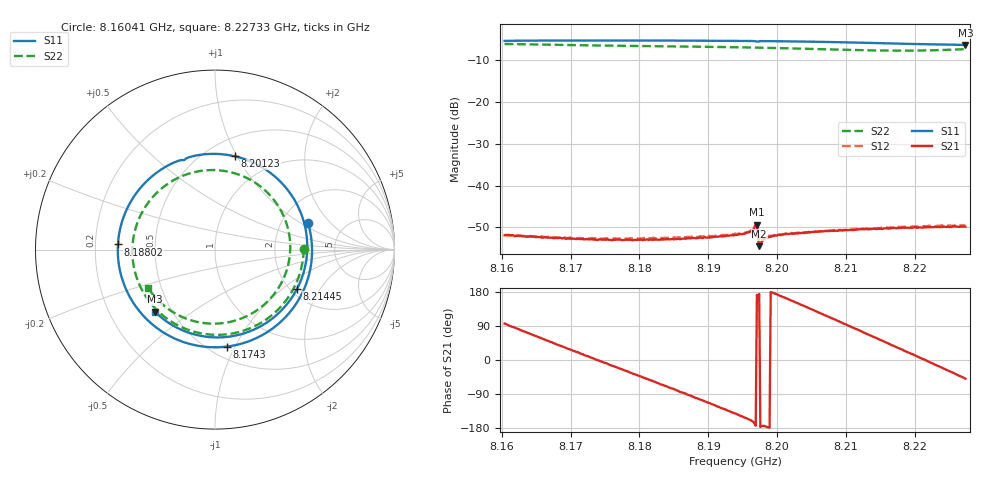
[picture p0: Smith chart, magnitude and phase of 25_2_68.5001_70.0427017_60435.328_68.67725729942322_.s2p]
#  HZ  S  RI  R  50.00
! Rohde & Schwarz Vector Network Analyzer
! Rohde-Schwarz,ZNB20-2Port,1311601062101988,3.16
! Created: UTC 3/20/2024, 5:04:50 PM
! freq[Hz]  re:S11  im:S11  re:S21  im:S21  re:S12  im:S12  re:S22  im:S22
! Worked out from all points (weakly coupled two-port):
!   401 points, 8.16041 GHz to 8.22733 GHz, reference 50 ohm
!   highest |S21| = -49.36 dB at 8.19705 GHz (marker M1); lowest = -54.5 dB at 8.19739 GHz (marker M2)
!   lowest |S11| = -6.3 dB at 8.22733 GHz (marker M3), VSWR 2.86, Z = 20.2 - j18.2 ohm
!   |S11| at or under -10 dB: nowhere
!   |S22| runs from -7.7 to -6.1 dB; largest |S21 - S12| = 0.00022
!   S11 on the Smith chart (normalised r, x): 8.16041 GHz: 2.78, +1.17; 8.1743 GHz: 0.61, -0.93; 8.18802 GHz: 0.30, +0.02; 8.20123 GHz: 0.68, +0.98; 8.21445 GHz: 2.16, -1.28; 8.22733 GHz: 0.40, -0.36
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8.160412e9  0.5175 0.1499  -0.000279 0.00253  -0.000266 0.00258  0.4944 0.00176
8.165766e9  0.5033 -0.203  0.00128 0.00203  0.00132 0.00208  0.3874 -0.2939
8.171621e9  0.241 -0.4881  0.00222 0.00063  0.00226 0.000638  0.101 -0.4666
8.174298e9  0.0671 -0.5402  0.00226 -0.00013  0.00231 -0.000107  -0.0519 -0.471
8.178481e9  -0.2139 -0.5003  0.00193 -0.00117  0.00196 -0.00123  -0.2697 -0.3833
8.182831e9  -0.4444 -0.3125  0.00106 -0.00199  0.00108 -0.0021  -0.4211 -0.1954
8.188017e9  -0.5409 0.0289  -0.000375 -0.00233  -0.000429 -0.00239  -0.4505 0.0871
8.190861e9  -0.4932 0.221  -0.00117 -0.00213  -0.00127 -0.00216  -0.3915 0.2331
8.193873e9  -0.37 0.3914  -0.002 -0.00162  -0.00212 -0.00163  -0.2782 0.3556
8.196717e9  -0.198 0.4965  -0.0031 -0.000675  -0.00318 -0.000587  -0.1358 0.426
8.197052e9  -0.1742 0.4983  -0.00337 0.00048  -0.00344 0.000625  -0.1176 0.4308
8.197386e9  -0.1611 0.5073  -0.00188 0.000184  -0.00193 0.000293  -0.0994 0.4349
8.197721e9  -0.1376 0.5167  -0.00208 -0.000211  -0.00217 -0.000125  -0.0807 0.4383
8.198557e9  -0.0783 0.5287  -0.00238 -0.000109  -0.00243 -1.86e-05  -0.0335 0.4428
8.201234e9  0.1102 0.5201  -0.00252 0.000765  -0.00253 0.00086  0.1171 0.4232
8.205082e9  0.3484 0.3942  -0.00192 0.00204  -0.00184 0.00212  0.3035 0.3062
8.209934e9  0.508 0.095  -0.000217 0.00295  -0.000143 0.00294  0.418 0.0471
8.214451e9  0.4566 -0.2196  0.0016 0.00254  0.00172 0.00256  0.3506 -0.2185
8.216292e9  0.3804 -0.3278  0.00228 0.00207  0.00237 0.00205  0.2742 -0.3067
8.219136e9  0.2143 -0.4469  0.00295 0.00103  0.00307 0.000943  0.1138 -0.3951
8.221813e9  0.0262 -0.4893  0.00317 -0.000169  0.00326 -0.000269  -0.0623 -0.4093
8.227334e9  -0.3351 -0.3457  0.00211 -0.00244  0.00209 -0.0026  -0.3718 -0.2138
